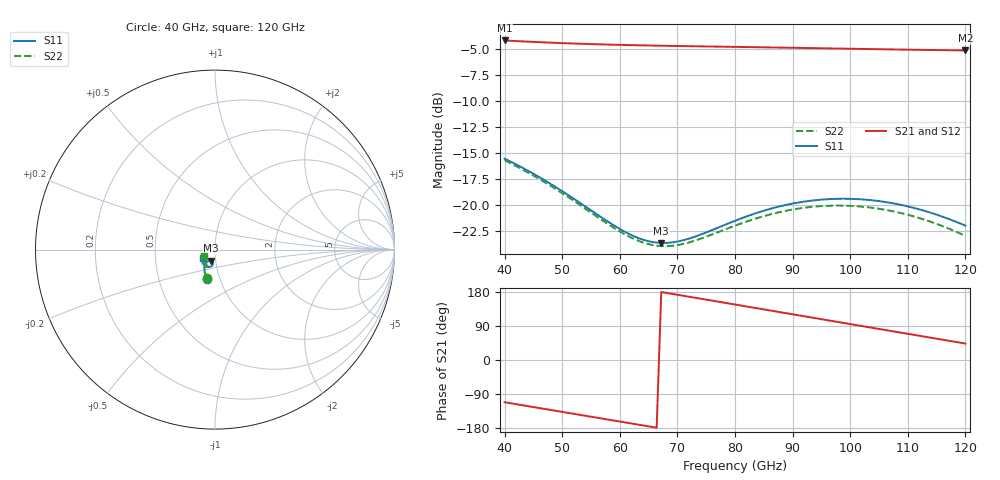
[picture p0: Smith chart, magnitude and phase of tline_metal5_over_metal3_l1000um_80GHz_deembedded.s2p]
! Created with skrf 2.0.1 (http://scikit-rf.org).
# GHz S DB R 50.0
!freq dBS11 angS11 dBS21 angS21 dBS12 angS12 dBS22 angS22
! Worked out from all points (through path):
!   101 points, 40 GHz to 120 GHz, reference 50 ohm
!   highest |S21| = -4.13 dB at 40 GHz (marker M1); lowest = -5.1 dB at 120 GHz (marker M2)
!   group delay of S21, straight-line fit = 7.13 ps
!   lowest |S11| = -23.7 dB at 67.2 GHz (marker M3), VSWR 1.14, Z = 47.6 - j5.9 ohm
!   |S11| at or under -10 dB: start of sweep to end of sweep
!   |S22| runs from -24.0 to -15.7 dB; largest |S21 - S12| = 6.9e-14
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40  -15.55 -104.7  -4.13 -111.4  -4.13 -111.4  -15.70 -104.9
43.2  -16.46 -110.6  -4.23 -119.6  -4.23 -119.6  -16.62 -111.0
47.2  -17.72 -116.9  -4.33 -129.8  -4.33 -129.8  -17.91 -117.3
53.6  -20.02 -122.8  -4.46 -146.1  -4.46 -146.1  -20.23 -123.5
57.6  -21.51 -122.8  -4.53 -156.3  -4.53 -156.3  -21.74 -123.7
61.6  -22.82 -119.0  -4.58 -166.4  -4.58 -166.4  -23.07 -120.3
64.8  -23.50 -113.7  -4.62 -174.6  -4.62 -174.6  -23.78 -115.2
67.2  -23.69 -109.0  -4.64 179.3  -4.64 179.3  -24.00 -110.8
70.4  -23.51 -103.3  -4.67 171.1  -4.67 171.1  -23.86 -105.4
73.6  -22.98 -99.4  -4.70 162.9  -4.70 162.9  -23.37 -101.7
76.8  -22.27 -97.8  -4.73 154.7  -4.73 154.7  -22.71 -100.2
80  -21.55 -98.2  -4.75 146.4  -4.75 146.4  -22.02 -100.7
84  -20.75 -100.8  -4.79 136.1  -4.79 136.1  -21.27 -103.5
87.2  -20.24 -104.0  -4.82 127.8  -4.82 127.8  -20.79 -106.9
90.4  -19.85 -108.0  -4.85 119.6  -4.85 119.6  -20.43 -111.1
93.6  -19.58 -112.4  -4.87 111.3  -4.87 111.3  -20.20 -115.6
96.8  -19.45 -117.0  -4.90 103.1  -4.90 103.1  -20.09 -120.5
100  -19.43 -121.8  -4.93 94.8  -4.93 94.8  -20.11 -125.4
103.2  -19.54 -126.5  -4.96 86.6  -4.96 86.6  -20.26 -130.3
107.2  -19.84 -132.1  -5.00 76.3  -5.00 76.3  -20.61 -136.2
113.6  -20.71 -139.9  -5.05 59.9  -5.05 59.9  -21.58 -144.3
120  -22.02 -144.9  -5.10 43.4  -5.10 43.4  -23.01 -149.4
